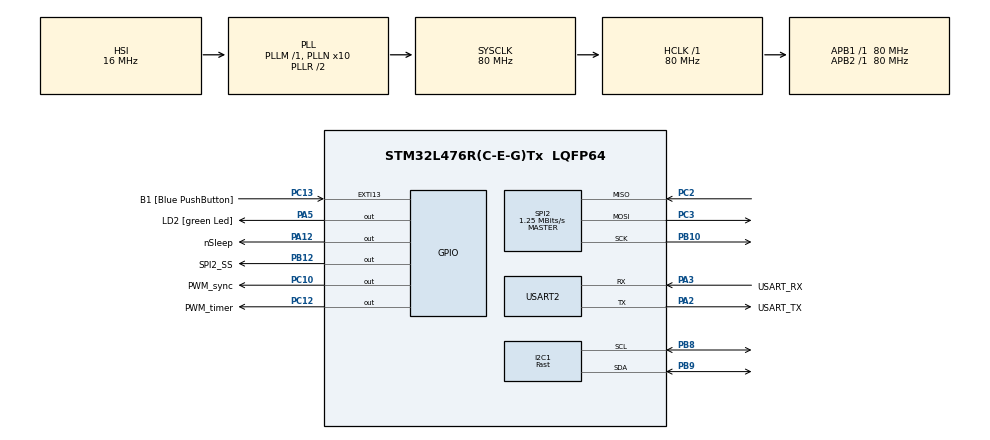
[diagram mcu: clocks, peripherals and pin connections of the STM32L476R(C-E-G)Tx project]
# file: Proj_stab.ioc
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I2C1.I2C_Speed_Mode=I2C_Fast
I2C1.Timing=0x00702991
Mcu.Family=STM32L4
Mcu.Name=STM32L476R(C-E-G)Tx
Mcu.Package=LQFP64
NVIC.PriorityGroup=NVIC_PRIORITYGROUP_4
NVIC.TIM2_IRQn=true\:0\:0\:false\:false\:true\:true\:true\:true
NVIC.TIM3_IRQn=true\:0\:0\:false\:false\:true\:true\:true\:true
PA12.GPIO_Label=nSleep
PA12.Signal=GPIO_Output
PA13\ (JTMS-SWDIO).GPIO_Label=TMS
PA13\ (JTMS-SWDIO).Mode=Serial_Wire
PA13\ (JTMS-SWDIO).Signal=SYS_JTMS-SWDIO
PA14\ (JTCK-SWCLK).GPIO_Label=TCK
PA14\ (JTCK-SWCLK).Mode=Serial_Wire
PA14\ (JTCK-SWCLK).Signal=SYS_JTCK-SWCLK
PA2.GPIO_Label=USART_TX
PA2.GPIO_Mode=GPIO_MODE_AF_PP
PA2.GPIO_PuPd=GPIO_NOPULL
PA2.GPIO_Speed=GPIO_SPEED_FREQ_VERY_HIGH
PA2.Mode=Asynchronous
PA2.Signal=USART2_TX
PA3.GPIO_Label=USART_RX
PA3.GPIO_Mode=GPIO_MODE_AF_PP
PA3.GPIO_PuPd=GPIO_NOPULL
PA3.GPIO_Speed=GPIO_SPEED_FREQ_VERY_HIGH
PA3.Mode=Asynchronous
PA3.Signal=USART2_RX
PA5.GPIO_Label=LD2 [green Led]
PA5.GPIO_ModeDefaultOutputPP=GPIO_MODE_OUTPUT_PP
PA5.GPIO_PuPd=GPIO_NOPULL
PA5.GPIO_Speed=GPIO_SPEED_FREQ_LOW
PA5.Signal=GPIO_Output
PB10.Mode=Full_Duplex_Master
PB10.Signal=SPI2_SCK
PB12.GPIO_Label=SPI2_SS
PB12.Signal=GPIO_Output
PB3\ (JTDO-TRACESWO).GPIO_Label=SWO
PB3\ (JTDO-TRACESWO).Signal=SYS_JTDO-SWO
PB8.Mode=I2C
PB8.Signal=I2C1_SCL
PB9.Mode=I2C
PB9.Signal=I2C1_SDA
PC10.GPIO_Label=PWM_sync
PC10.Signal=GPIO_Output
PC12.GPIO_Label=PWM_timer
PC12.Signal=GPIO_Output
PC13.GPIO_Label=B1 [Blue PushButton]
PC13.GPIO_ModeDefaultEXTI=GPIO_MODE_IT_FALLING
PC13.GPIO_PuPd=GPIO_NOPULL
PC13.Signal=GPXTI13
PC14-OSC32_IN\ (PC14).Mode=LSE-External-Oscillator
PC14-OSC32_IN\ (PC14).Signal=RCC_OSC32_IN
PC15-OSC32_OUT\ (PC15).Mode=LSE-External-Oscillator
PC15-OSC32_OUT\ (PC15).Signal=RCC_OSC32_OUT
PC2.Mode=Full_Duplex_Master
PC2.Signal=SPI2_MISO
PC3.Mode=Full_Duplex_Master
PC3.Signal=SPI2_MOSI
PH0-OSC_IN\ (PH0).Mode=HSE-External-Oscillator
PH0-OSC_IN\ (PH0).Signal=RCC_OSC_IN
PH1-OSC_OUT\ (PH1).Mode=HSE-External-Oscillator
PH1-OSC_OUT\ (PH1).Signal=RCC_OSC_OUT
ProjectManager.HeapSize=0x200
ProjectManager.StackSize=0x400
ProjectManager.TargetToolchain=STM32CubeIDE
RCC.ADCFreq_Value=64000000
RCC.AHBFreq_Value=80000000
RCC.APB1Freq_Value=80000000
RCC.APB1TimFreq_Value=80000000
RCC.APB2Freq_Value=80000000
RCC.APB2TimFreq_Value=80000000
RCC.CortexFreq_Value=80000000
RCC.HCLKFreq_Value=80000000
RCC.HSE_VALUE=8000000
RCC.HSI_VALUE=16000000
RCC.MSI_VALUE=4000000
RCC.PLLN=10
RCC.PLLSourceVirtual=RCC_PLLSOURCE_HSI
RCC.PREFETCH_ENABLE=1
RCC.SYSCLKFreq_VALUE=80000000
RCC.SYSCLKSource=RCC_SYSCLKSOURCE_PLLCLK
RCC.USBFreq_Value=64000000
RCC.VCOOutputFreq_Value=160000000
SPI2.BaudRatePrescaler=SPI_BAUDRATEPRESCALER_64
SPI2.CLKPolarity=SPI_POLARITY_LOW
SPI2.CRCCalculation=SPI_CRCCALCULATION_DISABLE
SPI2.CalculateBaudRate=1.25 MBits/s
SPI2.DataSize=SPI_DATASIZE_8BIT
SPI2.Direction=SPI_DIRECTION_2LINES
SPI2.FirstBit=SPI_FIRSTBIT_MSB
SPI2.Mode=SPI_MODE_MASTER
SPI2.NSSPMode=SPI_NSS_PULSE_DISABLE
SPI2.TIMode=SPI_TIMODE_DISABLE
SPI2.VirtualType=VM_MASTER
TIM2.Period=9999
TIM2.Prescaler=79
TIM3.Period=999
TIM3.Prescaler=7
USART2.VirtualMode-Asynchronous=VM_ASYNC
VP_CRC_VS_CRC.Mode=CRC_Activate
VP_RTC_VS_RTC_Activate.Mode=RTC_Enabled
VP_RTC_VS_RTC_Calendar.Mode=RTC_Calendar
VP_TIM2_VS_ClockSourceINT.Mode=Internal
VP_TIM3_VS_ClockSourceINT.Mode=Internal
board=NUCLEO-L476RG

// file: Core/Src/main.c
/* USER CODE BEGIN Header */
/**
  ******************************************************************************
  * @file           : main.c
  * @brief          : Main program body
  ******************************************************************************
  * @attention
  *
  * Copyright (c) 2022 STMicroelectronics.
  * All rights reserved.
  *
  * This software is licensed under terms that can be found in the LICENSE file
  * in the root directory of this software component.
  * If no LICENSE file comes with this software, it is provided AS-IS.
  *
  ******************************************************************************
  */
/* USER CODE END Header */
#include "main.h"

 CRC_HandleTypeDef hcrc;

I2C_HandleTypeDef hi2c1;

RTC_HandleTypeDef hrtc;

SPI_HandleTypeDef hspi2;

TIM_HandleTypeDef htim2;
TIM_HandleTypeDef htim3;

UART_HandleTypeDef huart2;

/* USER CODE BEGIN PV */

//BUS BUFFERS
uint8_t buf_I2C_TX[20];
uint8_t	buf_I2C_RX[20];
uint8_t buf_Serial_TX[20];
uint8_t	buf_Serial_RX[20];
uint8_t buf_SPI_TX[20]; 		//driver bus
uint8_t buf_SPI_RX[20]; 		//driver bus

//Fusion datas
MDI_output_t datas_fusion;

//Motor command setting
uint32_t comand_speed_period = init_speed_period;
uint32_t command_direction = init_speed_direction;   //1 = +         0 = -     2 = stop
REGULATOR_inputs Regulator_inputs;

/* USER CODE END PV */

void SystemClock_Config(void);
static void MX_GPIO_Init(void);
static void MX_I2C1_Init(void);
static void MX_USART2_UART_Init(void);
static void MX_SPI2_Init(void);
static void MX_TIM2_Init(void);
static void MX_TIM3_Init(void);
static void MX_CRC_Init(void);
static void MX_RTC_Init(void);

int main(void)
{
  /* USER CODE BEGIN 1 */
	//HAL_StatusTypeDef ret;

  /* USER CODE END 1 */

  /* MCU Configuration--------------------------------------------------------*/

  /* Reset of all peripherals, Initializes the Flash interface and the Systick. */
  HAL_Init();

  /* Configure the system clock */
  SystemClock_Config();

  /* Initialize all configured peripherals */
  MX_GPIO_Init();
  MX_I2C1_Init();
  MX_USART2_UART_Init();
  MX_SPI2_Init();
  MX_TIM2_Init();
  MX_TIM3_Init();
  MX_CRC_Init();
  MX_RTC_Init();
  /* USER CODE BEGIN 2 */

  DRV_Init();
  Fusion_datas_init();

  //INTERRUPTS
  HAL_TIM_Base_Start_IT(&htim3);
  HAL_TIM_Base_Start_IT(&htim2);

  Init_PID();
  Regulator_inputs.consigne = 180;
  /* USER CODE END 2 */

  /* Infinite loop */
	while (1)
	{

    /* USER CODE BEGIN 3 */

		HAL_GPIO_TogglePin(LD2_GPIO_Port, LD2_Pin);
		HAL_Delay(25);

	}
  /* USER CODE END 3 */
}

void SystemClock_Config(void)
{
  RCC_OscInitTypeDef RCC_OscInitStruct = {0};
  RCC_ClkInitTypeDef RCC_ClkInitStruct = {0};

  /** Configure the main internal regulator output voltage
  */
  if (HAL_PWREx_ControlVoltageScaling(PWR_REGULATOR_VOLTAGE_SCALE1) != HAL_OK)
  {
    Error_Handler();
  }

  /** Initializes the RCC Oscillators according to the specified parameters
  * in the RCC_OscInitTypeDef structure.
  */
  RCC_OscInitStruct.OscillatorType = RCC_OSCILLATORTYPE_HSI|RCC_OSCILLATORTYPE_LSI;
  RCC_OscInitStruct.HSIState = RCC_HSI_ON;
  RCC_OscInitStruct.HSICalibrationValue = RCC_HSICALIBRATION_DEFAULT;
  RCC_OscInitStruct.LSIState = RCC_LSI_ON;
  RCC_OscInitStruct.PLL.PLLState = RCC_PLL_ON;
  RCC_OscInitStruct.PLL.PLLSource = RCC_PLLSOURCE_HSI;
  RCC_OscInitStruct.PLL.PLLM = 1;
  RCC_OscInitStruct.PLL.PLLN = 10;
  RCC_OscInitStruct.PLL.PLLP = RCC_PLLP_DIV7;
  RCC_OscInitStruct.PLL.PLLQ = RCC_PLLQ_DIV2;
  RCC_OscInitStruct.PLL.PLLR = RCC_PLLR_DIV2;
  if (HAL_RCC_OscConfig(&RCC_OscInitStruct) != HAL_OK)
  {
    Error_Handler();
  }

  /** Initializes the CPU, AHB and APB buses clocks
  */
  RCC_ClkInitStruct.ClockType = RCC_CLOCKTYPE_HCLK|RCC_CLOCKTYPE_SYSCLK
                              |RCC_CLOCKTYPE_PCLK1|RCC_CLOCKTYPE_PCLK2;
  RCC_ClkInitStruct.SYSCLKSource = RCC_SYSCLKSOURCE_PLLCLK;
  RCC_ClkInitStruct.AHBCLKDivider = RCC_SYSCLK_DIV1;
  RCC_ClkInitStruct.APB1CLKDivider = RCC_HCLK_DIV1;
  RCC_ClkInitStruct.APB2CLKDivider = RCC_HCLK_DIV1;

  if (HAL_RCC_ClockConfig(&RCC_ClkInitStruct, FLASH_LATENCY_4) != HAL_OK)
  {
    Error_Handler();
  }
}

static void MX_CRC_Init(void)
{

  hcrc.Instance = CRC;
  hcrc.Init.DefaultPolynomialUse = DEFAULT_POLYNOMIAL_ENABLE;
  hcrc.Init.DefaultInitValueUse = DEFAULT_INIT_VALUE_ENABLE;
  hcrc.Init.InputDataInversionMode = CRC_INPUTDATA_INVERSION_NONE;
  hcrc.Init.OutputDataInversionMode = CRC_OUTPUTDATA_INVERSION_DISABLE;
  hcrc.InputDataFormat = CRC_INPUTDATA_FORMAT_BYTES;
  if (HAL_CRC_Init(&hcrc) != HAL_OK)
  {
    Error_Handler();
  }

}

static void MX_I2C1_Init(void)
{

  hi2c1.Instance = I2C1;
  hi2c1.Init.Timing = 0x00702991;
  hi2c1.Init.OwnAddress1 = 0;
  hi2c1.Init.AddressingMode = I2C_ADDRESSINGMODE_7BIT;
  hi2c1.Init.DualAddressMode = I2C_DUALADDRESS_DISABLE;
  hi2c1.Init.OwnAddress2 = 0;
  hi2c1.Init.OwnAddress2Masks = I2C_OA2_NOMASK;
  hi2c1.Init.GeneralCallMode = I2C_GENERALCALL_DISABLE;
  hi2c1.Init.NoStretchMode = I2C_NOSTRETCH_DISABLE;
  if (HAL_I2C_Init(&hi2c1) != HAL_OK)
  {
    Error_Handler();
  }

  /** Configure Analogue filter
  */
  if (HAL_I2CEx_ConfigAnalogFilter(&hi2c1, I2C_ANALOGFILTER_ENABLE) != HAL_OK)
  {
    Error_Handler();
  }

  /** Configure Digital filter
  */
  if (HAL_I2CEx_ConfigDigitalFilter(&hi2c1, 0) != HAL_OK)
  {
    Error_Handler();
  }

}

static void MX_RTC_Init(void)
{

  RTC_TimeTypeDef sTime = {0};
  RTC_DateTypeDef sDate = {0};

  /** Initialize RTC Only
  */
  hrtc.Instance = RTC;
  hrtc.Init.HourFormat = RTC_HOURFORMAT_24;
  hrtc.Init.AsynchPrediv = 127;
  hrtc.Init.SynchPrediv = 255;
  hrtc.Init.OutPut = RTC_OUTPUT_DISABLE;
  hrtc.Init.OutPutRemap = RTC_OUTPUT_REMAP_NONE;
  hrtc.Init.OutPutPolarity = RTC_OUTPUT_POLARITY_HIGH;
  hrtc.Init.OutPutType = RTC_OUTPUT_TYPE_OPENDRAIN;
  if (HAL_RTC_Init(&hrtc) != HAL_OK)
  {
    Error_Handler();
  }

  /** Initialize RTC and set the Time and Date
  */
  sTime.Hours = 0x0;
  sTime.Minutes = 0x0;
  sTime.Seconds = 0x0;
  sTime.DayLightSaving = RTC_DAYLIGHTSAVING_NONE;
  sTime.StoreOperation = RTC_STOREOPERATION_RESET;
  if (HAL_RTC_SetTime(&hrtc, &sTime, RTC_FORMAT_BCD) != HAL_OK)
  {
    Error_Handler();
  }
  sDate.WeekDay = RTC_WEEKDAY_MONDAY;
  sDate.Month = RTC_MONTH_JANUARY;
  sDate.Date = 0x1;
  sDate.Year = 0x0;

  if (HAL_RTC_SetDate(&hrtc, &sDate, RTC_FORMAT_BCD) != HAL_OK)
  {
    Error_Handler();
  }

}

static void MX_SPI2_Init(void)
{

  /* SPI2 parameter configuration*/
  hspi2.Instance = SPI2;
  hspi2.Init.Mode = SPI_MODE_MASTER;
  hspi2.Init.Direction = SPI_DIRECTION_2LINES;
  hspi2.Init.DataSize = SPI_DATASIZE_8BIT;
  hspi2.Init.CLKPolarity = SPI_POLARITY_LOW;
  hspi2.Init.CLKPhase = SPI_PHASE_1EDGE;
  hspi2.Init.NSS = SPI_NSS_SOFT;
  hspi2.Init.BaudRatePrescaler = SPI_BAUDRATEPRESCALER_64;
  hspi2.Init.FirstBit = SPI_FIRSTBIT_MSB;
  hspi2.Init.TIMode = SPI_TIMODE_DISABLE;
  hspi2.Init.CRCCalculation = SPI_CRCCALCULATION_DISABLE;
  hspi2.Init.CRCPolynomial = 7;
  hspi2.Init.CRCLength = SPI_CRC_LENGTH_DATASIZE;
  hspi2.Init.NSSPMode = SPI_NSS_PULSE_DISABLE;
  if (HAL_SPI_Init(&hspi2) != HAL_OK)
  {
    Error_Handler();
  }

}

static void MX_TIM2_Init(void)
{

  TIM_ClockConfigTypeDef sClockSourceConfig = {0};
  TIM_MasterConfigTypeDef sMasterConfig = {0};

  htim2.Instance = TIM2;
  htim2.Init.Prescaler = 79;
  htim2.Init.CounterMode = TIM_COUNTERMODE_UP;
  htim2.Init.Period = 9999;
  htim2.Init.ClockDivision = TIM_CLOCKDIVISION_DIV1;
  htim2.Init.AutoReloadPreload = TIM_AUTORELOAD_PRELOAD_DISABLE;
  if (HAL_TIM_Base_Init(&htim2) != HAL_OK)
  {
    Error_Handler();
  }
  sClockSourceConfig.ClockSource = TIM_CLOCKSOURCE_INTERNAL;
  if (HAL_TIM_ConfigClockSource(&htim2, &sClockSourceConfig) != HAL_OK)
  {
    Error_Handler();
  }
  sMasterConfig.MasterOutputTrigger = TIM_TRGO_RESET;
  sMasterConfig.MasterSlaveMode = TIM_MASTERSLAVEMODE_DISABLE;
  if (HAL_TIMEx_MasterConfigSynchronization(&htim2, &sMasterConfig) != HAL_OK)
  {
    Error_Handler();
  }

}

static void MX_TIM3_Init(void)
{

  TIM_ClockConfigTypeDef sClockSourceConfig = {0};
  TIM_MasterConfigTypeDef sMasterConfig = {0};

  htim3.Instance = TIM3;
  htim3.Init.Prescaler = 7;
  htim3.Init.CounterMode = TIM_COUNTERMODE_UP;
  htim3.Init.Period = 999;
  htim3.Init.ClockDivision = TIM_CLOCKDIVISION_DIV1;
  htim3.Init.AutoReloadPreload = TIM_AUTORELOAD_PRELOAD_DISABLE;
  if (HAL_TIM_Base_Init(&htim3) != HAL_OK)
  {
    Error_Handler();
  }
  sClockSourceConfig.ClockSource = TIM_CLOCKSOURCE_INTERNAL;
  if (HAL_TIM_ConfigClockSource(&htim3, &sClockSourceConfig) != HAL_OK)
  {
    Error_Handler();
  }
  sMasterConfig.MasterOutputTrigger = TIM_TRGO_RESET;
  sMasterConfig.MasterSlaveMode = TIM_MASTERSLAVEMODE_DISABLE;
  if (HAL_TIMEx_MasterConfigSynchronization(&htim3, &sMasterConfig) != HAL_OK)
  {
    Error_Handler();
  }

}

static void MX_USART2_UART_Init(void)
{

  huart2.Instance = USART2;
  huart2.Init.BaudRate = 115200;
  huart2.Init.WordLength = UART_WORDLENGTH_8B;
  huart2.Init.StopBits = UART_STOPBITS_1;
  huart2.Init.Parity = UART_PARITY_NONE;
  huart2.Init.Mode = UART_MODE_TX_RX;
  huart2.Init.HwFlowCtl = UART_HWCONTROL_NONE;
  huart2.Init.OverSampling = UART_OVERSAMPLING_16;
  huart2.Init.OneBitSampling = UART_ONE_BIT_SAMPLE_DISABLE;
  huart2.AdvancedInit.AdvFeatureInit = UART_ADVFEATURE_NO_INIT;
  if (HAL_UART_Init(&huart2) != HAL_OK)
  {
    Error_Handler();
  }

}

static void MX_GPIO_Init(void)
{
  GPIO_InitTypeDef GPIO_InitStruct = {0};

  /* GPIO Ports Clock Enable */
  __HAL_RCC_GPIOC_CLK_ENABLE();
  __HAL_RCC_GPIOH_CLK_ENABLE();
  __HAL_RCC_GPIOA_CLK_ENABLE();
  __HAL_RCC_GPIOB_CLK_ENABLE();

  /*Configure GPIO pin Output Level */
  HAL_GPIO_WritePin(GPIOA, LD2_Pin|nSleep_Pin, GPIO_PIN_RESET);

  /*Configure GPIO pin Output Level */
  HAL_GPIO_WritePin(SPI2_SS_GPIO_Port, SPI2_SS_Pin, GPIO_PIN_RESET);

  /*Configure GPIO pin Output Level */
  HAL_GPIO_WritePin(GPIOC, PWM_sync_Pin|PWM_timer_Pin, GPIO_PIN_RESET);

  /*Configure GPIO pin : B1_Pin */
  GPIO_InitStruct.Pin = B1_Pin;
  GPIO_InitStruct.Mode = GPIO_MODE_IT_FALLING;
  GPIO_InitStruct.Pull = GPIO_NOPULL;
  HAL_GPIO_Init(B1_GPIO_Port, &GPIO_InitStruct);

  /*Configure GPIO pins : LD2_Pin nSleep_Pin */
  GPIO_InitStruct.Pin = LD2_Pin|nSleep_Pin;
  GPIO_InitStruct.Mode = GPIO_MODE_OUTPUT_PP;
  GPIO_InitStruct.Pull = GPIO_NOPULL;
  GPIO_InitStruct.Speed = GPIO_SPEED_FREQ_LOW;
  HAL_GPIO_Init(GPIOA, &GPIO_InitStruct);

  /*Configure GPIO pin : SPI2_SS_Pin */
  GPIO_InitStruct.Pin = SPI2_SS_Pin;
  GPIO_InitStruct.Mode = GPIO_MODE_OUTPUT_PP;
  GPIO_InitStruct.Pull = GPIO_NOPULL;
  GPIO_InitStruct.Speed = GPIO_SPEED_FREQ_LOW;
  HAL_GPIO_Init(SPI2_SS_GPIO_Port, &GPIO_InitStruct);

  /*Configure GPIO pins : PWM_sync_Pin PWM_timer_Pin */
  GPIO_InitStruct.Pin = PWM_sync_Pin|PWM_timer_Pin;
  GPIO_InitStruct.Mode = GPIO_MODE_OUTPUT_PP;
  GPIO_InitStruct.Pull = GPIO_NOPULL;
  GPIO_InitStruct.Speed = GPIO_SPEED_FREQ_LOW;
  HAL_GPIO_Init(GPIOC, &GPIO_InitStruct);

}

void Error_Handler(void)
{
  __disable_irq();
  while (1)
  {
  }
}
